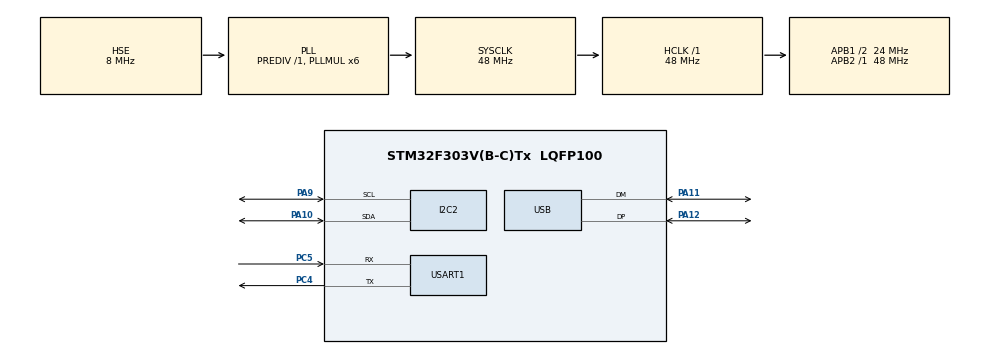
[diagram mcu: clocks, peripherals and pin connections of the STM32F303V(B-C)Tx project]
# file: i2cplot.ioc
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I2C2.Timing=0x00201D2B
Mcu.Family=STM32F3
Mcu.Name=STM32F303V(B-C)Tx
Mcu.Package=LQFP100
NVIC.PriorityGroup=NVIC_PRIORITYGROUP_0
NVIC.USB_LP_CAN_RX0_IRQn=true\:0\:0\:false\:false\:true\:false\:true\:true
PA10.Mode=I2C
PA10.Signal=I2C2_SDA
PA11.Mode=Device
PA11.Signal=USB_DM
PA12.Mode=Device
PA12.Signal=USB_DP
PA9.Mode=I2C
PA9.Signal=I2C2_SCL
PC4.Mode=Asynchronous
PC4.Signal=USART1_TX
PC5.Mode=Asynchronous
PC5.Signal=USART1_RX
PF0-OSC_IN.Mode=HSE-External-Oscillator
PF0-OSC_IN.Signal=RCC_OSC_IN
PF1-OSC_OUT.Mode=HSE-External-Oscillator
PF1-OSC_OUT.Signal=RCC_OSC_OUT
ProjectManager.HeapSize=0x200
ProjectManager.StackSize=0x400
ProjectManager.TargetToolchain=CMake
RCC.AHBFreq_Value=48000000
RCC.APB1CLKDivider=RCC_HCLK_DIV2
RCC.APB1Freq_Value=24000000
RCC.APB1TimFreq_Value=48000000
RCC.APB2Freq_Value=48000000
RCC.APB2TimFreq_Value=48000000
RCC.CortexFreq_Value=48000000
RCC.HCLKFreq_Value=48000000
RCC.HSE_VALUE=8000000
RCC.HSI_VALUE=8000000
RCC.LSE_VALUE=32768
RCC.PLLMUL=RCC_PLL_MUL6
RCC.PLLSourceVirtual=RCC_PLLSOURCE_HSE
RCC.SYSCLKFreq_VALUE=48000000
RCC.SYSCLKSourceVirtual=RCC_SYSCLKSOURCE_PLLCLK
RCC.USBFreq_Value=48000000
USART1.VirtualMode-Asynchronous=VM_ASYNC
USB_DEVICE.CLASS_NAME_FS=CDC
USB_DEVICE.VirtualMode=Cdc
USB_DEVICE.VirtualModeFS=Cdc_FS
VP_USB_DEVICE_VS_USB_DEVICE_CDC_FS.Mode=CDC_FS
board=STM32F3DISCOVERY

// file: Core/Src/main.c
/*
IMPORTANT!!!!!!
The following code contains for task 3 which also covers the rest of the task. who am i is presented in the mpu_exists function
*/

/* USER CODE BEGIN Header */
/**
  ******************************************************************************
  * @file           : main.c
  * @brief          : Main program body
  ******************************************************************************
  * @attention
  *
  * Copyright (c) 2025 STMicroelectronics.
  * All rights reserved.
  *
  * This software is licensed under terms that can be found in the LICENSE file
  * in the root directory of this software component.
  * If no LICENSE file comes with this software, it is provided AS-IS.
  *
  ******************************************************************************
  */
/* USER CODE END Header */
#include "main.h"
#include "usb_device.h"

/* USER CODE BEGIN Includes */
#include <string.h>
#include <math.h>
/* USER CODE END Includes */

/* USER CODE BEGIN PD */
#define PI 3.14159265359
#define RAD_TO_DEG 57.2957795131
/* USER CODE END PD */

I2C_HandleTypeDef hi2c2;

UART_HandleTypeDef huart1;

void SystemClock_Config(void);
static void MX_GPIO_Init(void);
static void MX_I2C2_Init(void);
static void MX_USART1_UART_Init(void);

/* USER CODE BEGIN 0 */
int16_t accelX_raw, gyroX_raw;
float gForceX, rotX;
char buffer[100];
float angleX = 0.0;
float dt = 0.1;
uint8_t Buffer[25] = {0};
uint8_t Space[] = "-";
uint8_t StartMSG[] = "Starting I2C Scanning: \r\n";
uint8_t EndMSG[] = "Done! \r\n\r\n";
uint8_t ErrorMSG[] = "\t Error in gyro \r\n";
float acc_Offset = 0.0;
float gyro_Offset = 0.0;

#define MPU6050_ADDR 0x68 << 1  // mpu address
#define PWR_MGMT_1   0x6B
#define ACCEL_CONFIG 0x1C
#define GYRO_CONFIG  0x1B
#define ACCEL_XOUT_H 0x3B
#define GYRO_XOUT_H  0x43

//the function is used to check if the connection exists. uncomment it to verify.
// void MPU6050_Exists(void){
//   uint8_t i=0,ret;
//   HAL_Delay(1000);
//   HAL_UART_Transmit(&huart1, StartMSG, sizeof(StartMSG), 10000);
//   for(i=0; i<128;i++){
//   ret = HAL_I2C_IsDeviceReady(&hi2c2, (uint16_t)(i<<1),3,5);
//   if(ret!=HAL_OK){
//     HAL_UART_Transmit(&huart1, Space, sizeof(Space), 10000);
//   }else if(ret==HAL_OK){
//     sprintf(Buffer, "0x%X", i);
//     HAL_UART_Transmit(&huart1, Buffer, sizeof(Buffer), 10000);
//   }
//   }
//   HAL_UART_Transmit(&huart1, EndMSG, sizeof(EndMSG), 10000);
//   uint8_t who_am_i = 0;
// HAL_StatusTypeDef status;
// HAL_Delay(2000);
// status = HAL_I2C_Mem_Read(&hi2c2,
//                           0x68 << 1,     // Device address (8-bit)
//                           0x75,          // WHO_AM_I register
//                           I2C_MEMADD_SIZE_8BIT, // 8-bit register address
//                           &who_am_i,     // Buffer to store result
//                           1,             // One byte
//                           100);          // Timeout in ms

// if (status == HAL_OK) {
//     sprintf((char*)Buffer, "\r\nWHO_AM_I: 0x%X\r\n", who_am_i);
//     HAL_UART_Transmit(&huart1, Buffer, strlen((char*)Buffer), 1000);
// } else {
//     HAL_UART_Transmit(&huart1, (uint8_t *)"\r\nWHO_AM_I read failed\r\n", 26, 1000);
// }

//   uint8_t reg_config = 0;
//   uint8_t sample_rate = 0;

//   HAL_I2C_Mem_Read(&hi2c2, 0x68<<1, 25, I2C_MEMADD_SIZE_8BIT, &sample_rate, 1, 100);
//   HAL_I2C_Mem_Read(&hi2c2, 0x68<<1, 26, I2C_MEMADD_SIZE_8BIT, &reg_config, 1, 100);
//   sprintf((char*)Buffer, "Configure Register: 0x%X, Sample Rate Register: 0x%X\r\n",reg_config, sample_rate);
//   HAL_UART_Transmit(&huart1, Buffer, strlen((char*)Buffer), 1000);

// }

void MPU6050_Init(void) {
    uint8_t data;
    // wake up MPU6050
    data = 0;
    HAL_I2C_Mem_Write(&hi2c2, MPU6050_ADDR, PWR_MGMT_1, 1, &data, 1, HAL_MAX_DELAY);

    // Set accelerometer to 2g
    data = 0x00;
    HAL_I2C_Mem_Write(&hi2c2, MPU6050_ADDR, ACCEL_CONFIG, 1, &data, 1, HAL_MAX_DELAY);

    //250deg
    data = 0x00;
    HAL_I2C_Mem_Write(&hi2c2, MPU6050_ADDR, GYRO_CONFIG, 1, &data, 1, HAL_MAX_DELAY);
}

void Read_MPU6050(void) {
    uint8_t Rec_Data[4];
    // Read accelerometer x-axis
    uint8_t isReading=0;
    isReading = HAL_I2C_Mem_Read(&hi2c2, MPU6050_ADDR, ACCEL_XOUT_H, 1, Rec_Data, 2, HAL_MAX_DELAY);
    if(isReading!=HAL_OK){
      HAL_UART_Transmit(&huart1, ErrorMSG, sizeof(ErrorMSG), HAL_MAX_DELAY);
    }
    accelX_raw = (int16_t)(Rec_Data[0] << 8 | Rec_Data[1]);
    gForceX = accelX_raw / 16384.0;
    gForceX = gForceX * RAD_TO_DEG;
    gForceX-=acc_Offset;

    // Read gyroscope x-axis
    HAL_I2C_Mem_Read(&hi2c2, MPU6050_ADDR, GYRO_XOUT_H, 1, Rec_Data, 2, HAL_MAX_DELAY);
    gyroX_raw = (int16_t)(Rec_Data[0] << 8 | Rec_Data[1]);
    rotX = (gyroX_raw / 131.0);
    rotX-=gyro_Offset;
    angleX = 0.98 * (angleX + rotX * dt) + 0.02 * gForceX;
}

void Print_Data(void) {
    sprintf(buffer, "%.2f,%.2f,%.2f\r\n", gForceX, rotX, angleX);
    HAL_UART_Transmit(&huart1, (uint8_t*)buffer, strlen(buffer), HAL_MAX_DELAY);
}

void callibrate_sensor() {
    int num_readings = 20;
    float acc_sum = 0;
    float gyro_sum = 0;
    uint8_t Rec_Data[2];
    for (int i = 0; i < num_readings; i++) {
        HAL_I2C_Mem_Read(&hi2c2, MPU6050_ADDR, ACCEL_XOUT_H, 1, Rec_Data, 2, HAL_MAX_DELAY);
        int16_t raw_accel = (int16_t)(Rec_Data[0] << 8 | Rec_Data[1]);
        float accel_g = (raw_accel / 16384.0f)*RAD_TO_DEG;

        HAL_I2C_Mem_Read(&hi2c2, MPU6050_ADDR, GYRO_XOUT_H, 1, Rec_Data, 2, HAL_MAX_DELAY);
        int16_t raw_gyro = (int16_t)(Rec_Data[0] << 8 | Rec_Data[1]);
        float gyro_dps = raw_gyro / 131.0f;

        acc_sum += accel_g;
        gyro_sum += gyro_dps;

        HAL_Delay(100);
    }
    acc_Offset = acc_sum / num_readings;
    gyro_Offset = gyro_sum / num_readings;
}

/* USER CODE END 0 */

int main(void)
{

  /* MCU Configuration--------------------------------------------------------*/

  /* Reset of all peripherals, Initializes the Flash interface and the Systick. */
  HAL_Init();

  /* Configure the system clock */
  SystemClock_Config();

  /* Initialize all configured peripherals */
  MX_GPIO_Init();
  MX_I2C2_Init();
  MX_USART1_UART_Init();
  MX_USB_DEVICE_Init();
  /* USER CODE BEGIN 2 */
  // MPU6050_Exists(); //uncomment it to check whether mpu exists.
  MPU6050_Init();
  callibrate_sensor();
  /* USER CODE END 2 */

  /* Infinite loop */
  while (1)
  {
    Read_MPU6050();
    Print_Data();
    HAL_Delay(100);
  }
}

void SystemClock_Config(void)
{
  RCC_OscInitTypeDef RCC_OscInitStruct = {0};
  RCC_ClkInitTypeDef RCC_ClkInitStruct = {0};
  RCC_PeriphCLKInitTypeDef PeriphClkInit = {0};

  /** Initializes the RCC Oscillators according to the specified parameters
  * in the RCC_OscInitTypeDef structure.
  */
  RCC_OscInitStruct.OscillatorType = RCC_OSCILLATORTYPE_HSI|RCC_OSCILLATORTYPE_HSE;
  RCC_OscInitStruct.HSEState = RCC_HSE_ON;
  RCC_OscInitStruct.HSEPredivValue = RCC_HSE_PREDIV_DIV1;
  RCC_OscInitStruct.HSIState = RCC_HSI_ON;
  RCC_OscInitStruct.HSICalibrationValue = RCC_HSICALIBRATION_DEFAULT;
  RCC_OscInitStruct.PLL.PLLState = RCC_PLL_ON;
  RCC_OscInitStruct.PLL.PLLSource = RCC_PLLSOURCE_HSE;
  RCC_OscInitStruct.PLL.PLLMUL = RCC_PLL_MUL6;
  if (HAL_RCC_OscConfig(&RCC_OscInitStruct) != HAL_OK)
  {
    Error_Handler();
  }

  /** Initializes the CPU, AHB and APB buses clocks
  */
  RCC_ClkInitStruct.ClockType = RCC_CLOCKTYPE_HCLK|RCC_CLOCKTYPE_SYSCLK
                              |RCC_CLOCKTYPE_PCLK1|RCC_CLOCKTYPE_PCLK2;
  RCC_ClkInitStruct.SYSCLKSource = RCC_SYSCLKSOURCE_PLLCLK;
  RCC_ClkInitStruct.AHBCLKDivider = RCC_SYSCLK_DIV1;
  RCC_ClkInitStruct.APB1CLKDivider = RCC_HCLK_DIV2;
  RCC_ClkInitStruct.APB2CLKDivider = RCC_HCLK_DIV1;

  if (HAL_RCC_ClockConfig(&RCC_ClkInitStruct, FLASH_LATENCY_1) != HAL_OK)
  {
    Error_Handler();
  }
  PeriphClkInit.PeriphClockSelection = RCC_PERIPHCLK_USB|RCC_PERIPHCLK_USART1
                              |RCC_PERIPHCLK_I2C2;
  PeriphClkInit.Usart1ClockSelection = RCC_USART1CLKSOURCE_PCLK2;
  PeriphClkInit.I2c2ClockSelection = RCC_I2C2CLKSOURCE_HSI;
  PeriphClkInit.USBClockSelection = RCC_USBCLKSOURCE_PLL;
  if (HAL_RCCEx_PeriphCLKConfig(&PeriphClkInit) != HAL_OK)
  {
    Error_Handler();
  }
}

static void MX_I2C2_Init(void)
{

  hi2c2.Instance = I2C2;
  hi2c2.Init.Timing = 0x00201D2B;
  hi2c2.Init.OwnAddress1 = 0;
  hi2c2.Init.AddressingMode = I2C_ADDRESSINGMODE_7BIT;
  hi2c2.Init.DualAddressMode = I2C_DUALADDRESS_DISABLE;
  hi2c2.Init.OwnAddress2 = 0;
  hi2c2.Init.OwnAddress2Masks = I2C_OA2_NOMASK;
  hi2c2.Init.GeneralCallMode = I2C_GENERALCALL_DISABLE;
  hi2c2.Init.NoStretchMode = I2C_NOSTRETCH_DISABLE;
  if (HAL_I2C_Init(&hi2c2) != HAL_OK)
  {
    Error_Handler();
  }

  /** Configure Analogue filter
  */
  if (HAL_I2CEx_ConfigAnalogFilter(&hi2c2, I2C_ANALOGFILTER_ENABLE) != HAL_OK)
  {
    Error_Handler();
  }

  /** Configure Digital filter
  */
  if (HAL_I2CEx_ConfigDigitalFilter(&hi2c2, 0) != HAL_OK)
  {
    Error_Handler();
  }

}

static void MX_USART1_UART_Init(void)
{

  huart1.Instance = USART1;
  huart1.Init.BaudRate = 115200;
  huart1.Init.WordLength = UART_WORDLENGTH_8B;
  huart1.Init.StopBits = UART_STOPBITS_1;
  huart1.Init.Parity = UART_PARITY_NONE;
  huart1.Init.Mode = UART_MODE_TX_RX;
  huart1.Init.HwFlowCtl = UART_HWCONTROL_NONE;
  huart1.Init.OverSampling = UART_OVERSAMPLING_16;
  huart1.Init.OneBitSampling = UART_ONE_BIT_SAMPLE_DISABLE;
  huart1.AdvancedInit.AdvFeatureInit = UART_ADVFEATURE_NO_INIT;
  if (HAL_UART_Init(&huart1) != HAL_OK)
  {
    Error_Handler();
  }

}

static void MX_GPIO_Init(void)
{
  /* USER CODE BEGIN MX_GPIO_Init_1 */
  GPIO_InitTypeDef GPIO_InitStruct = {0};
  /* USER CODE END MX_GPIO_Init_1 */

  /* GPIO Ports Clock Enable */
  __HAL_RCC_GPIOF_CLK_ENABLE();
  __HAL_RCC_GPIOC_CLK_ENABLE();
  __HAL_RCC_GPIOA_CLK_ENABLE();
  __HAL_RCC_GPIOE_CLK_ENABLE();

  /* USER CODE BEGIN MX_GPIO_Init_2 */
  HAL_GPIO_WritePin(GPIOE, GPIO_PIN_13, GPIO_PIN_RESET);

  GPIO_InitStruct.Pin = GPIO_PIN_13;
  GPIO_InitStruct.Mode = GPIO_MODE_OUTPUT_PP;
  GPIO_InitStruct.Pull = GPIO_NOPULL;
  GPIO_InitStruct.Speed = GPIO_SPEED_FREQ_LOW;
  HAL_GPIO_Init(GPIOE, &GPIO_InitStruct);
  /* USER CODE END MX_GPIO_Init_2 */
}

void Error_Handler(void)
{
  __disable_irq();
  while (1)
  {
  }
}
